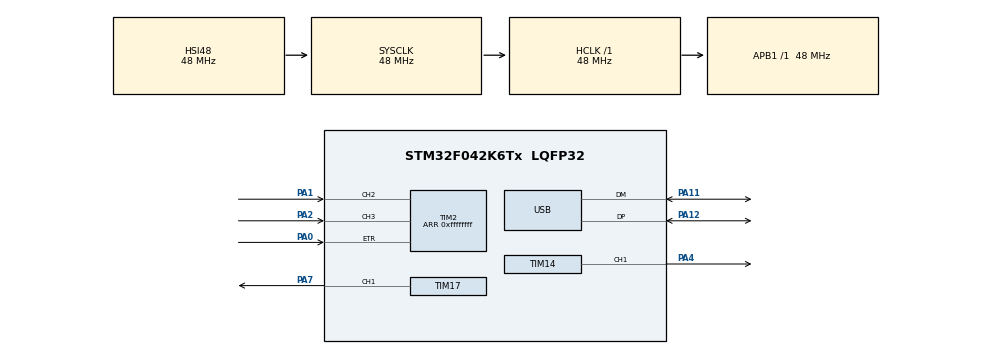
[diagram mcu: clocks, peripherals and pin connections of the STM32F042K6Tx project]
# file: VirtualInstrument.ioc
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Dma.Request0=TIM2_CH2
Dma.TIM2_CH2.0.Direction=DMA_PERIPH_TO_MEMORY
Dma.TIM2_CH2.0.Instance=DMA1_Channel3
Dma.TIM2_CH2.0.MemDataAlignment=DMA_MDATAALIGN_WORD
Dma.TIM2_CH2.0.MemInc=DMA_MINC_ENABLE
Dma.TIM2_CH2.0.Mode=DMA_NORMAL
Dma.TIM2_CH2.0.PeriphDataAlignment=DMA_PDATAALIGN_WORD
Dma.TIM2_CH2.0.PeriphInc=DMA_PINC_DISABLE
Dma.TIM2_CH2.0.Priority=DMA_PRIORITY_HIGH
Mcu.Family=STM32F0
Mcu.Name=STM32F042K6Tx
Mcu.Package=LQFP32
NVIC.DMA1_Channel2_3_IRQn=true\:0\:0\:false\:false\:true
NVIC.TIM2_IRQn=true\:0\:0\:false\:false\:true
NVIC.USB_IRQn=true\:0\:0\:false\:false\:true
PA0.Signal=S_TIM2_CH1_ETR
PA1.Signal=S_TIM2_CH2
PA11.Mode=Device
PA11.Signal=USB_DM
PA12.Mode=Device
PA12.Signal=USB_DP
PA13.GPIO_Label=SWDIO
PA13.Signal=SYS_SWDIO
PA14.GPIO_Label=SWCLK
PA14.Signal=SYS_SWCLK
PA2.Signal=S_TIM2_CH3
PA4.Signal=S_TIM14_CH1
PA6.Signal=S_TIM3_CH1
PA7.Signal=S_TIM17_CH1
PF0-OSC_IN.GPIO_Label=MCO
PF0-OSC_IN.Mode=HSE-External-Oscillator
PF0-OSC_IN.Signal=RCC_OSC_IN
PF1-OSC_OUT.Mode=HSE-External-Oscillator
PF1-OSC_OUT.Signal=RCC_OSC_OUT
ProjectManager.HeapSize=0x200
ProjectManager.StackSize=0x400
ProjectManager.TargetToolchain=SW4STM32
RCC.AHBFreq_Value=48000000
RCC.APB1Freq_Value=48000000
RCC.APB1TimFreq_Value=48000000
RCC.HCLKFreq_Value=48000000
RCC.HSIState=RCC_HSI_ON
RCC.SYSCLKFreq_VALUE=48000000
RCC.SYSCLKSource=RCC_SYSCLKSOURCE_HSI48
SH.S_TIM14_CH1.0=TIM14_CH1,PWM Generation1 CH1
SH.S_TIM17_CH1.0=TIM17_CH1,PWM Generation1 CH1
SH.S_TIM2_CH1_ETR.0=TIM2_ETR,ClockSourceETR_Mode2
SH.S_TIM2_CH2.0=TIM2_CH2,Input_Capture2_from_TI2
SH.S_TIM2_CH3.0=TIM2_CH3,Input_Capture3_from_TI3
SH.S_TIM3_CH1.0=TIM3_CH1
TIM2.Channel-Input_Capture2_from_TI2=TIM_CHANNEL_2
TIM2.Channel-Input_Capture3_from_TI3=TIM_CHANNEL_3
TIM2.ICPolarity_CH2=TIM_INPUTCHANNELPOLARITY_FALLING
TIM2.Period=0xffffffff
TIM3.OCMode_1=TIM_OCMODE_INACTIVE
TIM3.TIM_MasterOutputTrigger=TIM_TRGO_OC1REF
TIM3.TIM_MasterSlaveMode=TIM_MASTERSLAVEMODE_ENABLE
USB_DEVICE.CLASS_NAME_FS=CDC
USB_DEVICE.MANUFACTURER_STRING=FEE CTU Prague
USB_DEVICE.PRODUCT_STRING_CDC_FS=Virtual Counter
USB_DEVICE.USBD_HandleTypeDef=hUsbDeviceFS
USB_DEVICE.VirtualMode=Cdc
USB_DEVICE.VirtualModeFS=Cdc_FS
VP_RCC_USB.Mode=CRS SYNC Source USB
VP_TIM14_VS_ClockSourceINT.Mode=Enable_Timer
VP_TIM17_VS_ClockSourceINT.Mode=Enable_Timer
VP_TIM2_VS_ClockSourceITR.Mode=TriggerSource_ITR2
VP_TIM2_VS_ControllerModeGated.Mode=Gated Mode
VP_TIM3_VS_ClockSourceINT.Mode=Internal
VP_TIM3_VS_no_output1.Mode=Output Compare1 No Output
VP_USB_DEVICE_VS_USB_DEVICE_CDC_FS.Mode=CDC_FS
board=NUCLEO-F042K6

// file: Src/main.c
/**
  ******************************************************************************
  * File Name          : main.c
  * Description        : Main program body
  ******************************************************************************
  *
  * Copyright (c) 2017 STMicroelectronics International N.V.
  * All rights reserved.
  *
  * Redistribution and use in source and binary forms, with or without
  * modification, are permitted, provided that the following conditions are met:
  *
  * 1. Redistribution of source code must retain the above copyright notice,
  *    this list of conditions and the following disclaimer.
  * 2. Redistributions in binary form must reproduce the above copyright notice,
  *    this list of conditions and the following disclaimer in the documentation
  *    and/or other materials provided with the distribution.
  * 3. Neither the name of STMicroelectronics nor the names of other
  *    contributors to this software may be used to endorse or promote products
  *    derived from this software without specific written permission.
  * 4. This software, including modifications and/or derivative works of this
  *    software, must execute solely and exclusively on microcontroller or
  *    microprocessor devices manufactured by or for STMicroelectronics.
  * 5. Redistribution and use of this software other than as permitted under
  *    this license is void and will automatically terminate your rights under
  *    this license.
  *
  * THIS SOFTWARE IS PROVIDED BY STMICROELECTRONICS AND CONTRIBUTORS "AS IS"
  * AND ANY EXPRESS, IMPLIED OR STATUTORY WARRANTIES, INCLUDING, BUT NOT
  * LIMITED TO, THE IMPLIED WARRANTIES OF MERCHANTABILITY, FITNESS FOR A
  * PARTICULAR PURPOSE AND NON-INFRINGEMENT OF THIRD PARTY INTELLECTUAL PROPERTY
  * RIGHTS ARE DISCLAIMED TO THE FULLEST EXTENT PERMITTED BY LAW. IN NO EVENT
  * SHALL STMICROELECTRONICS OR CONTRIBUTORS BE LIABLE FOR ANY DIRECT, INDIRECT,
  * INCIDENTAL, SPECIAL, EXEMPLARY, OR CONSEQUENTIAL DAMAGES (INCLUDING, BUT NOT
  * LIMITED TO, PROCUREMENT OF SUBSTITUTE GOODS OR SERVICES; LOSS OF USE, DATA,
  * OR PROFITS; OR BUSINESS INTERRUPTION) HOWEVER CAUSED AND ON ANY THEORY OF
  * LIABILITY, WHETHER IN CONTRACT, STRICT LIABILITY, OR TORT (INCLUDING
  * NEGLIGENCE OR OTHERWISE) ARISING IN ANY WAY OUT OF THE USE OF THIS SOFTWARE,
  * EVEN IF ADVISED OF THE POSSIBILITY OF SUCH DAMAGE.
  *
  ******************************************************************************
  */
#include "main.h"
#include "stm32f0xx_hal.h"
#include "usb_device.h"

/* USER CODE BEGIN Includes */
#include "virtualinstrument/hw.h"
#include "virtualinstrument/instrument.h"
#include "virtualinstrument/protocol.h"

#include <string.h>
/* USER CODE END Includes */

TIM_HandleTypeDef htim2;
TIM_HandleTypeDef htim3;
TIM_HandleTypeDef htim14;
TIM_HandleTypeDef htim17;
DMA_HandleTypeDef hdma_tim2_ch2;

/* USER CODE BEGIN PV */
/* Private variables ---------------------------------------------------------*/

/* USER CODE END PV */

void SystemClock_Config(void);
void Error_Handler(void);
static void MX_GPIO_Init(void);
static void MX_DMA_Init(void);
static void MX_TIM2_Init(void);
static void MX_TIM17_Init(void);
static void MX_TIM3_Init(void);
static void MX_TIM14_Init(void);

void HAL_TIM_MspPostInit(TIM_HandleTypeDef *htim);

/* USER CODE BEGIN PFP */
/* Private function prototypes -----------------------------------------------*/

/* USER CODE END PFP */

/* USER CODE BEGIN 0 */

// For t_AB mode
#define INPUT_CAPTURE_CH1_CHAN TIM_CHANNEL_4
#define INPUT_CAPTURE_CH2_CHAN TIM_CHANNEL_2
#define INPUT_CAPTURE_CH1_CCR (TIM2->CCR4)
#define INPUT_CAPTURE_CH2_CCR (TIM2->CCR2)

void HardFault_Handler() {
	TIM1->CNT = 0;
}

//mode = MODE_COUNTER, edge = XXX
//mode = MODE_RECIPROCAL, edge = EDGE_RISING
//mode = MODE_RECIPROCAL, edge = EDGE_FALLING
// 'edge' argument is NOT IMPLEMENTED
void HWSetFreqMode(int mode, int edge) {
	HAL_TIM_Base_Stop(&COUNTER_HTIM);
	HAL_TIM_Base_Stop(&INPUT_CAPTURE_HTIM);
	HAL_TIM_IC_Stop_IT(&INPUT_CAPTURE_HTIM, INPUT_CAPTURE_FALLING_CHAN);

	if (mode == MODE_COUNTER) {
		TIM_ClockConfigTypeDef sClockSourceConfig;
		sClockSourceConfig.ClockSource = TIM_CLOCKSOURCE_ETRMODE2;
		sClockSourceConfig.ClockPolarity = TIM_CLOCKPOLARITY_NONINVERTED;
		sClockSourceConfig.ClockPrescaler = TIM_CLOCKPRESCALER_DIV1;
		sClockSourceConfig.ClockFilter = 0;
		HAL_TIM_ConfigClockSource(&COUNTER_HTIM, &sClockSourceConfig);

		TIM_SlaveConfigTypeDef sSlaveConfig;
		sSlaveConfig.SlaveMode = TIM_SLAVEMODE_GATED;
		sSlaveConfig.InputTrigger = COUNTER_TIM_GATE_IT;
		HAL_TIM_SlaveConfigSynchronization(&COUNTER_HTIM, &sSlaveConfig);

		HAL_TIM_Base_Start(&COUNTER_HTIM);

		//HAL_TIM_IC_Stop_IT(&HTIM_INPUT_COMPARE, INPUT_CAPTURE_FALLING_CHAN);
	}
	else if (mode == MODE_TDELTA) {
		TIM_ClockConfigTypeDef sClockSourceConfig;
		TIM_IC_InitTypeDef sConfigIC;

		// clock
		sClockSourceConfig.ClockSource = TIM_CLOCKSOURCE_INTERNAL;
		HAL_TIM_ConfigClockSource(&INPUT_CAPTURE_HTIM, &sClockSourceConfig);

		// input capture
		// TODO: polarity
		sConfigIC.ICPolarity = TIM_INPUTCHANNELPOLARITY_RISING;
		sConfigIC.ICSelection = TIM_ICSELECTION_DIRECTTI;
		sConfigIC.ICPrescaler = TIM_ICPSC_DIV1;
		sConfigIC.ICFilter = 0;
		HAL_TIM_IC_ConfigChannel(&INPUT_CAPTURE_HTIM, &sConfigIC, TIM_CHANNEL_2);
		HAL_TIM_IC_ConfigChannel(&INPUT_CAPTURE_HTIM, &sConfigIC, TIM_CHANNEL_4);

		// start!
		HAL_TIM_IC_Start(&INPUT_CAPTURE_HTIM, INPUT_CAPTURE_CH1_CHAN);
		//HAL_TIM_IC_Start(&INPUT_CAPTURE_HTIM, INPUT_CAPTURE_CH2_CHAN);
		HAL_TIM_IC_Start_IT(&INPUT_CAPTURE_HTIM, INPUT_CAPTURE_CH2_CHAN);
	}
}

/* USER CODE END 0 */

int main(void)
{

  /* MCU Configuration----------------------------------------------------------*/

  /* Reset of all peripherals, Initializes the Flash interface and the Systick. */
  HAL_Init();

  /* Configure the system clock */
  SystemClock_Config();

  /* Initialize all configured peripherals */
  MX_GPIO_Init();
  MX_DMA_Init();
  MX_USB_DEVICE_Init();
  MX_TIM2_Init();
  MX_TIM17_Init();
  MX_TIM3_Init();
  MX_TIM14_Init();

  /* USER CODE BEGIN 2 */
  HWInit();
  HWTryEnableHSE();
  HAL_TIM_PWM_Start(&PWM1_HTIM, PWM1_CHANNEL);
  HAL_TIM_PWM_Start(&PWM2_HTIM, PWM2_CHANNEL);
  //HAL_TIM_Base_Start(&HTIM_INPUT_COMPARE);
  //HAL_TIM_Base_Start(&TIMEFRAME_HTIM);

  protocolInit("VirtualInstrument,,1003", SystemCoreClock);

  instrumentInit(SystemCoreClock);

  // FIXME: how to avoid this sin
  //HWStartTimeframe(100);	// unclog the pipes at start

  //HWSetGeneratorPWM(1, 48, 24);		// 1 MHz
  //HWSetGeneratorPWM(1, 480, 240);		// 100 kHz
  //HWSetGeneratorPWM(1, 4800, 2400);		// 10 kHz
  //HWSetGeneratorPWM(1, 9600, 4800);		// 5 kHz
  HWSetGeneratorPWM(1, 48000, 24000, 45);		// 1 kHz
  /* USER CODE END 2 */

  /* Infinite loop */
  while (1)
  {

  /* USER CODE BEGIN 3 */
	  instrumentProcess();
	  protocolProcess();
  }
  /* USER CODE END 3 */

}

/** System Clock Configuration
*/
void SystemClock_Config(void)
{

  RCC_OscInitTypeDef RCC_OscInitStruct;
  RCC_ClkInitTypeDef RCC_ClkInitStruct;
  RCC_PeriphCLKInitTypeDef PeriphClkInit;
  RCC_CRSInitTypeDef RCC_CRSInitStruct;

    /**Initializes the CPU, AHB and APB busses clocks
    */
  RCC_OscInitStruct.OscillatorType = RCC_OSCILLATORTYPE_HSI48;
  RCC_OscInitStruct.HSI48State = RCC_HSI48_ON;
  RCC_OscInitStruct.PLL.PLLState = RCC_PLL_NONE;
  if (HAL_RCC_OscConfig(&RCC_OscInitStruct) != HAL_OK)
  {
    Error_Handler();
  }

    /**Initializes the CPU, AHB and APB busses clocks
    */
  RCC_ClkInitStruct.ClockType = RCC_CLOCKTYPE_HCLK|RCC_CLOCKTYPE_SYSCLK
                              |RCC_CLOCKTYPE_PCLK1;
  RCC_ClkInitStruct.SYSCLKSource = RCC_SYSCLKSOURCE_HSI48;
  RCC_ClkInitStruct.AHBCLKDivider = RCC_SYSCLK_DIV1;
  RCC_ClkInitStruct.APB1CLKDivider = RCC_HCLK_DIV1;

  if (HAL_RCC_ClockConfig(&RCC_ClkInitStruct, FLASH_LATENCY_1) != HAL_OK)
  {
    Error_Handler();
  }

  PeriphClkInit.PeriphClockSelection = RCC_PERIPHCLK_USB;
  PeriphClkInit.UsbClockSelection = RCC_USBCLKSOURCE_HSI48;

  if (HAL_RCCEx_PeriphCLKConfig(&PeriphClkInit) != HAL_OK)
  {
    Error_Handler();
  }

    /**Enable the SYSCFG APB clock
    */
  __HAL_RCC_CRS_CLK_ENABLE();

    /**Configures CRS
    */
  RCC_CRSInitStruct.Prescaler = RCC_CRS_SYNC_DIV1;
  RCC_CRSInitStruct.Source = RCC_CRS_SYNC_SOURCE_USB;
  RCC_CRSInitStruct.Polarity = RCC_CRS_SYNC_POLARITY_RISING;
  RCC_CRSInitStruct.ReloadValue = __HAL_RCC_CRS_RELOADVALUE_CALCULATE(48000000,1000);
  RCC_CRSInitStruct.ErrorLimitValue = 34;
  RCC_CRSInitStruct.HSI48CalibrationValue = 32;

  HAL_RCCEx_CRSConfig(&RCC_CRSInitStruct);

    /**Configure the Systick interrupt time
    */
  HAL_SYSTICK_Config(HAL_RCC_GetHCLKFreq()/1000);

    /**Configure the Systick
    */
  HAL_SYSTICK_CLKSourceConfig(SYSTICK_CLKSOURCE_HCLK);

  /* SysTick_IRQn interrupt configuration */
  HAL_NVIC_SetPriority(SysTick_IRQn, 0, 0);
}

/* TIM2 init function */
static void MX_TIM2_Init(void)
{

  TIM_ClockConfigTypeDef sClockSourceConfig;
  TIM_SlaveConfigTypeDef sSlaveConfig;
  TIM_MasterConfigTypeDef sMasterConfig;
  TIM_IC_InitTypeDef sConfigIC;

  htim2.Instance = TIM2;
  htim2.Init.Prescaler = 0;
  htim2.Init.CounterMode = TIM_COUNTERMODE_UP;
  htim2.Init.Period = 0xffffffff;
  htim2.Init.ClockDivision = TIM_CLOCKDIVISION_DIV1;
  if (HAL_TIM_Base_Init(&htim2) != HAL_OK)
  {
    Error_Handler();
  }

  sClockSourceConfig.ClockSource = TIM_CLOCKSOURCE_ETRMODE2;
  sClockSourceConfig.ClockPolarity = TIM_CLOCKPOLARITY_NONINVERTED;
  sClockSourceConfig.ClockPrescaler = TIM_CLOCKPRESCALER_DIV1;
  sClockSourceConfig.ClockFilter = 0;
  if (HAL_TIM_ConfigClockSource(&htim2, &sClockSourceConfig) != HAL_OK)
  {
    Error_Handler();
  }

  if (HAL_TIM_IC_Init(&htim2) != HAL_OK)
  {
    Error_Handler();
  }

  sSlaveConfig.SlaveMode = TIM_SLAVEMODE_GATED;
  sSlaveConfig.InputTrigger = TIM_TS_ITR2;
  if (HAL_TIM_SlaveConfigSynchronization(&htim2, &sSlaveConfig) != HAL_OK)
  {
    Error_Handler();
  }

  sMasterConfig.MasterOutputTrigger = TIM_TRGO_RESET;
  sMasterConfig.MasterSlaveMode = TIM_MASTERSLAVEMODE_DISABLE;
  if (HAL_TIMEx_MasterConfigSynchronization(&htim2, &sMasterConfig) != HAL_OK)
  {
    Error_Handler();
  }

  sConfigIC.ICPolarity = TIM_INPUTCHANNELPOLARITY_FALLING;
  sConfigIC.ICSelection = TIM_ICSELECTION_DIRECTTI;
  sConfigIC.ICPrescaler = TIM_ICPSC_DIV1;
  sConfigIC.ICFilter = 0;
  if (HAL_TIM_IC_ConfigChannel(&htim2, &sConfigIC, TIM_CHANNEL_2) != HAL_OK)
  {
    Error_Handler();
  }

  sConfigIC.ICPolarity = TIM_INPUTCHANNELPOLARITY_RISING;
  if (HAL_TIM_IC_ConfigChannel(&htim2, &sConfigIC, TIM_CHANNEL_3) != HAL_OK)
  {
    Error_Handler();
  }

}

/* TIM3 init function */
static void MX_TIM3_Init(void)
{

  TIM_ClockConfigTypeDef sClockSourceConfig;
  TIM_MasterConfigTypeDef sMasterConfig;
  TIM_OC_InitTypeDef sConfigOC;

  htim3.Instance = TIM3;
  htim3.Init.Prescaler = 0;
  htim3.Init.CounterMode = TIM_COUNTERMODE_UP;
  htim3.Init.Period = 0;
  htim3.Init.ClockDivision = TIM_CLOCKDIVISION_DIV1;
  if (HAL_TIM_Base_Init(&htim3) != HAL_OK)
  {
    Error_Handler();
  }

  sClockSourceConfig.ClockSource = TIM_CLOCKSOURCE_INTERNAL;
  if (HAL_TIM_ConfigClockSource(&htim3, &sClockSourceConfig) != HAL_OK)
  {
    Error_Handler();
  }

  if (HAL_TIM_OC_Init(&htim3) != HAL_OK)
  {
    Error_Handler();
  }

  sMasterConfig.MasterOutputTrigger = TIM_TRGO_OC1REF;
  sMasterConfig.MasterSlaveMode = TIM_MASTERSLAVEMODE_ENABLE;
  if (HAL_TIMEx_MasterConfigSynchronization(&htim3, &sMasterConfig) != HAL_OK)
  {
    Error_Handler();
  }

  sConfigOC.OCMode = TIM_OCMODE_INACTIVE;
  sConfigOC.Pulse = 0;
  sConfigOC.OCPolarity = TIM_OCPOLARITY_HIGH;
  sConfigOC.OCFastMode = TIM_OCFAST_DISABLE;
  if (HAL_TIM_OC_ConfigChannel(&htim3, &sConfigOC, TIM_CHANNEL_1) != HAL_OK)
  {
    Error_Handler();
  }

}

/* TIM14 init function */
static void MX_TIM14_Init(void)
{

  TIM_OC_InitTypeDef sConfigOC;

  htim14.Instance = TIM14;
  htim14.Init.Prescaler = 0;
  htim14.Init.CounterMode = TIM_COUNTERMODE_UP;
  htim14.Init.Period = 0;
  htim14.Init.ClockDivision = TIM_CLOCKDIVISION_DIV1;
  if (HAL_TIM_Base_Init(&htim14) != HAL_OK)
  {
    Error_Handler();
  }

  if (HAL_TIM_PWM_Init(&htim14) != HAL_OK)
  {
    Error_Handler();
  }

  sConfigOC.OCMode = TIM_OCMODE_PWM1;
  sConfigOC.Pulse = 0;
  sConfigOC.OCPolarity = TIM_OCPOLARITY_HIGH;
  sConfigOC.OCFastMode = TIM_OCFAST_DISABLE;
  if (HAL_TIM_PWM_ConfigChannel(&htim14, &sConfigOC, TIM_CHANNEL_1) != HAL_OK)
  {
    Error_Handler();
  }

  HAL_TIM_MspPostInit(&htim14);

}

/* TIM17 init function */
static void MX_TIM17_Init(void)
{

  TIM_OC_InitTypeDef sConfigOC;
  TIM_BreakDeadTimeConfigTypeDef sBreakDeadTimeConfig;

  htim17.Instance = TIM17;
  htim17.Init.Prescaler = 0;
  htim17.Init.CounterMode = TIM_COUNTERMODE_UP;
  htim17.Init.Period = 0;
  htim17.Init.ClockDivision = TIM_CLOCKDIVISION_DIV1;
  htim17.Init.RepetitionCounter = 0;
  if (HAL_TIM_Base_Init(&htim17) != HAL_OK)
  {
    Error_Handler();
  }

  if (HAL_TIM_PWM_Init(&htim17) != HAL_OK)
  {
    Error_Handler();
  }

  sConfigOC.OCMode = TIM_OCMODE_PWM1;
  sConfigOC.Pulse = 0;
  sConfigOC.OCPolarity = TIM_OCPOLARITY_HIGH;
  sConfigOC.OCNPolarity = TIM_OCNPOLARITY_HIGH;
  sConfigOC.OCFastMode = TIM_OCFAST_DISABLE;
  sConfigOC.OCIdleState = TIM_OCIDLESTATE_RESET;
  sConfigOC.OCNIdleState = TIM_OCNIDLESTATE_RESET;
  if (HAL_TIM_PWM_ConfigChannel(&htim17, &sConfigOC, TIM_CHANNEL_1) != HAL_OK)
  {
    Error_Handler();
  }

  sBreakDeadTimeConfig.OffStateRunMode = TIM_OSSR_DISABLE;
  sBreakDeadTimeConfig.OffStateIDLEMode = TIM_OSSI_DISABLE;
  sBreakDeadTimeConfig.LockLevel = TIM_LOCKLEVEL_OFF;
  sBreakDeadTimeConfig.DeadTime = 0;
  sBreakDeadTimeConfig.BreakState = TIM_BREAK_DISABLE;
  sBreakDeadTimeConfig.BreakPolarity = TIM_BREAKPOLARITY_HIGH;
  sBreakDeadTimeConfig.AutomaticOutput = TIM_AUTOMATICOUTPUT_DISABLE;
  if (HAL_TIMEx_ConfigBreakDeadTime(&htim17, &sBreakDeadTimeConfig) != HAL_OK)
  {
    Error_Handler();
  }

  HAL_TIM_MspPostInit(&htim17);

}

static void MX_DMA_Init(void)
{
  /* DMA controller clock enable */
  __HAL_RCC_DMA1_CLK_ENABLE();

  /* DMA interrupt init */
  /* DMA1_Channel2_3_IRQn interrupt configuration */
  HAL_NVIC_SetPriority(DMA1_Channel2_3_IRQn, 0, 0);
  HAL_NVIC_EnableIRQ(DMA1_Channel2_3_IRQn);

}

/** Configure pins as
        * Analog
        * Input
        * Output
        * EVENT_OUT
        * EXTI
*/
static void MX_GPIO_Init(void)
{

  /* GPIO Ports Clock Enable */
  __HAL_RCC_GPIOF_CLK_ENABLE();
  __HAL_RCC_GPIOA_CLK_ENABLE();

}

void Error_Handler(void)
{
  while(1)
  {
  }
}

/************************ (C) COPYRIGHT STMicroelectronics *****END OF FILE****/
